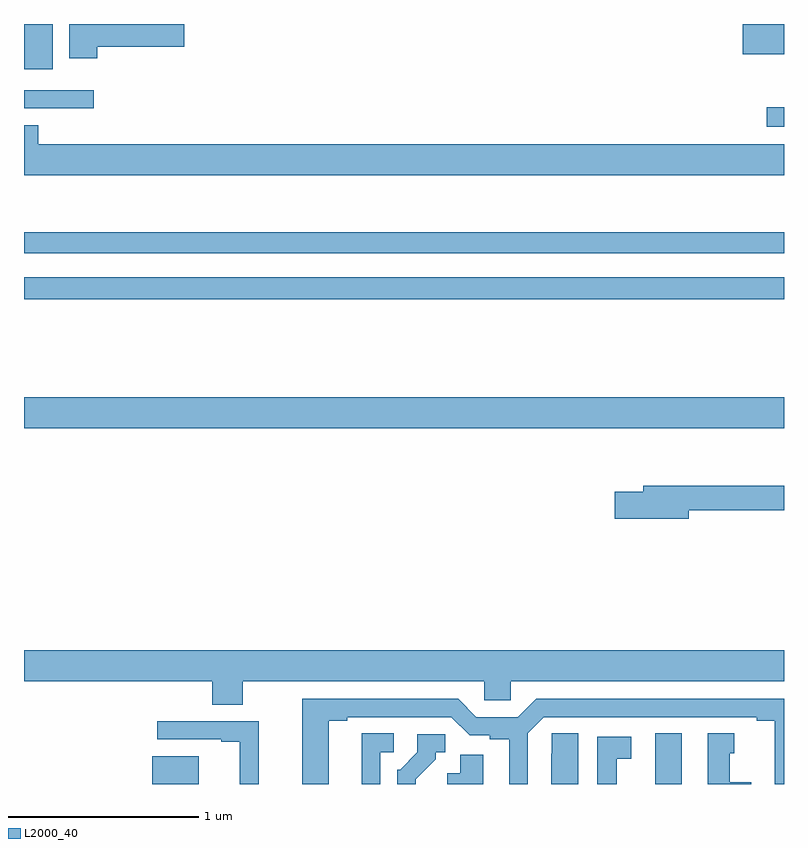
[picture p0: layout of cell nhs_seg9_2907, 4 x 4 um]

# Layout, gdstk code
import gdstk
lib = gdstk.Library(unit=1e-6, precision=1e-09)
def R(c, l, rs):  # rectangles x0, y0, x1, y1
    for r in rs: c.add(gdstk.rectangle(r[:2], r[2:], *l))
def P(c, l, *ps):  # polygons
    for p in ps: c.add(gdstk.Polygon(p, *l))
L2000_40 = (2000, 40)

nhs_seg9_2907 = lib.new_cell('nhs_seg9_2907')
R(nhs_seg9_2907, L2000_40, [(277.676,1242.5,277.921,1242.646), (280.322,1242.5,280.462,1242.766), (277,1244.372,281,1244.536), (277,1245.052,281,1245.168), (277,1245.294,281,1245.403), (280.908,1245.96,281,1246.061), (277,1246.056,277.366,1246.152), (277,1246.262,277.15,1246.5), (280.784,1246.34,281,1246.5)])
P(nhs_seg9_2907, L2000_40, [(277.385,1246.379),(277.843,1246.379),(277.843,1246.5),(277.238,1246.5),(277.238,1246.32),(277.385,1246.32)],
  [(281,1245.868),(277.076,1245.868),(277.076,1245.967),(277,1245.967),(277,1245.704),(281,1245.704)],
  [(280.498,1243.942),(281,1243.942),(281,1244.071),(280.259,1244.071),(280.259,1244.037),(280.11,1244.037),(280.11,1243.895),(280.498,1243.895)],
  [(278.151,1243.04),(279.423,1243.04),(279.423,1242.942),(279.561,1242.942),(279.561,1243.04),(281,1243.04),(281,1243.204),(277,1243.204),(277,1243.04),(277.991,1243.04),(277.991,1242.916),(278.151,1242.916)],
  [(278.605,1242.832),(278.701,1242.832),(278.701,1242.852),(279.249,1242.852),(279.345,1242.756),(279.45,1242.756),(279.45,1242.736),(279.554,1242.736),(279.554,1242.5),(279.651,1242.5),(279.651,1242.768),(279.735,1242.852),(280.856,1242.852),(280.856,1242.832),(280.952,1242.832),(280.952,1242.5),(281,1242.5),(281,1242.948),(279.695,1242.948),(279.599,1242.852),(279.381,1242.852),(279.285,1242.948),(278.465,1242.948),(278.465,1242.5),(278.605,1242.5)],
  [(278.235,1242.831),(277.701,1242.831),(277.701,1242.735),(278.039,1242.735),(278.039,1242.723),(278.135,1242.723),(278.135,1242.5),(278.235,1242.5)],
  [(278.874,1242.666),(278.947,1242.666),(278.947,1242.767),(278.777,1242.767),(278.777,1242.5),(278.874,1242.5)],
  [(279.916,1242.767),(279.777,1242.767),(279.777,1242.659),(279.776,1242.659),(279.776,1242.5),(279.916,1242.5)],
  [(280.828,1242.508),(280.714,1242.508),(280.714,1242.663),(280.738,1242.663),(280.738,1242.766),(280.598,1242.766),(280.598,1242.5),(280.828,1242.5)],
  [(279.061,1242.526),(279.166,1242.631),(279.166,1242.666),(279.216,1242.666),(279.216,1242.762),(279.069,1242.762),(279.069,1242.666),(278.979,1242.576),(278.964,1242.576),(278.964,1242.5),(279.061,1242.5)],
  [(280.12,1242.634),(280.195,1242.634),(280.195,1242.75),(280.016,1242.75),(280.016,1242.5),(280.12,1242.5)],
  [(279.418,1242.654),(279.296,1242.654),(279.296,1242.556),(279.227,1242.556),(279.227,1242.5),(279.418,1242.5)])

lib.write_gds('nhs_seg9_2907.gds')
